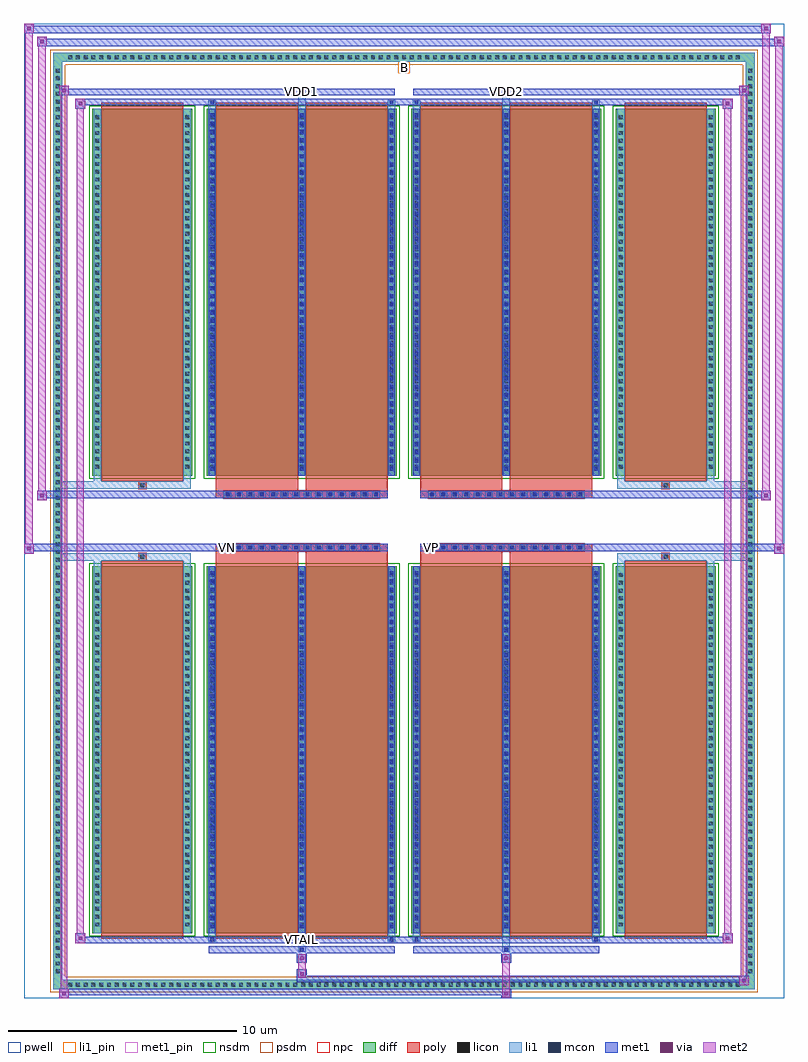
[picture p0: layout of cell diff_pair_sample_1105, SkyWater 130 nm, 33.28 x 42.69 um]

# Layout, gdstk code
import gdstk
lib = gdstk.Library(unit=1e-6, precision=5e-09)
def R(c, l, rs):  # rectangles x0, y0, x1, y1
    for r in rs: c.add(gdstk.rectangle(r[:2], r[2:], *l))
def A(c, l, x, y, w, h, nx, ny, dx, dy):  # array of equal rectangles
    R(c, l, [(x+i*dx, y+j*dy, x+i*dx+w, y+j*dy+h) for i in range(nx) for j in range(ny)])
def P(c, l, *ps):  # polygons
    for p in ps: c.add(gdstk.Polygon(p, *l))
pwell = (64, 44)
diff = (65, 20)
poly = (66, 20)
licon = (66, 44)
li1_pin = (67, 16)
li1 = (67, 20)
mcon = (67, 44)
met1_pin = (68, 16)
met1 = (68, 20)
via = (68, 44)
met2 = (69, 20)
nsdm = (93, 44)
psdm = (94, 20)
npc = (95, 20)

diff_pair_sample_1105 = lib.new_cell('diff_pair_sample_1105')
R(diff_pair_sample_1105, pwell, [(-16.64,-20.91,16.64,21.78), (-13.96,-19.1,-0.01,-0.8), (0.01,-19.1,13.96,-0.8), (-13.96,0.8,-0.01,19.1), (0.01,0.8,13.96,19.1)])
A(diff_pair_sample_1105, diff, -14.825, -20.51, 0.41, 0.41, 87, 2, 0.34, 40.61)
A(diff_pair_sample_1105, diff, -15.37, -19.925, 0.41, 0.41, 1, 117, 0, 0.34)
A(diff_pair_sample_1105, diff, 14.96, -19.925, 0.41, 0.41, 1, 117, 0, 0.34)
R(diff_pair_sample_1105, diff, [(-14.825,-20.51,14.825,-20.1), (-15.37,-19.925,-14.96,19.925), (14.96,-19.925,15.37,19.925), (-13.65,-18.055,-9.27,-1.985), (-8.63,-18.055,-0.32,-1.985), (0.32,-18.055,8.63,-1.985), (9.27,-18.055,13.65,-1.985), (-13.65,1.985,-9.27,18.055), (-8.63,1.985,-0.32,18.055), (0.32,1.985,8.63,18.055), (9.27,1.985,13.65,18.055), (-14.825,20.1,14.825,20.51)])
P(diff_pair_sample_1105, diff, [(15.37,20.51),(-15.37,20.51),(-15.37,-20.1),(-14.96,-20.1),(-14.96,20.1),(14.96,20.1),(14.96,-20.1),(-14.96,-20.1),(-15.37,-20.1),(-15.37,-20.51),(15.37,-20.51)])
A(diff_pair_sample_1105, poly, -7.89, -1.33, 0.33, 0.33, 14, 2, 0.5, 2.33)
A(diff_pair_sample_1105, poly, 1.06, -1.33, 0.33, 0.33, 14, 2, 0.5, 2.33)
R(diff_pair_sample_1105, poly, [(-13.26,-18.305,-9.66,-1.735), (-8.24,-18.305,-4.64,-1.735), (-4.31,-18.305,-0.71,-1.735), (0.71,-18.305,4.31,-1.735), (4.64,-18.305,8.24,-1.735), (9.66,-18.305,13.26,-1.735), (-11.625,-1.735,-11.295,-1.405), (-11.625,-1.735,-11.295,-1.405), (-8.24,-1.735,-4.64,-1.33), (-4.31,-1.735,-0.71,-1.33), (0.71,-1.735,4.31,-1.33), (4.64,-1.735,8.24,-1.33), (11.295,-1.735,11.625,-1.405), (11.295,-1.735,11.625,-1.405), (-8.24,-1.33,-0.71,-1), (0.71,-1.33,8.24,-1), (-8.24,1,-0.71,1.33), (0.71,1,8.24,1.33), (-8.24,1.33,-4.64,1.735), (-4.31,1.33,-0.71,1.735), (0.71,1.33,4.31,1.735), (4.64,1.33,8.24,1.735), (-11.625,1.405,-11.295,1.735), (-11.625,1.405,-11.295,1.735), (11.295,1.405,11.625,1.735), (11.295,1.405,11.625,1.735), (-13.26,1.735,-9.66,18.305), (-8.24,1.735,-4.64,18.305), (-4.31,1.735,-0.71,18.305), (0.71,1.735,4.31,18.305), (4.64,1.735,8.24,18.305), (9.66,1.735,13.26,18.305)])
A(diff_pair_sample_1105, licon, -14.705, -20.39, 0.17, 0.17, 87, 2, 0.34, 40.61)
A(diff_pair_sample_1105, licon, -15.25, -19.805, 0.17, 0.17, 1, 117, 0, 0.34)
A(diff_pair_sample_1105, licon, 15.08, -19.805, 0.17, 0.17, 1, 117, 0, 0.34)
A(diff_pair_sample_1105, licon, -13.51, -17.755, 0.17, 0.17, 1, 46, 0, 0.34)
A(diff_pair_sample_1105, licon, -9.58, -17.755, 0.17, 0.17, 1, 46, 0, 0.34)
A(diff_pair_sample_1105, licon, -8.49, -17.755, 0.17, 0.17, 3, 46, 3.93, 0.34)
A(diff_pair_sample_1105, licon, 0.46, -17.755, 0.17, 0.17, 3, 46, 3.93, 0.34)
A(diff_pair_sample_1105, licon, 9.41, -17.755, 0.17, 0.17, 1, 46, 0, 0.34)
A(diff_pair_sample_1105, licon, 13.34, -17.755, 0.17, 0.17, 1, 46, 0, 0.34)
A(diff_pair_sample_1105, licon, -7.81, -1.25, 0.17, 0.17, 14, 2, 0.5, 2.33)
A(diff_pair_sample_1105, licon, 1.14, -1.25, 0.17, 0.17, 14, 2, 0.5, 2.33)
A(diff_pair_sample_1105, licon, -13.51, 2.285, 0.17, 0.17, 1, 46, 0, 0.34)
A(diff_pair_sample_1105, licon, -9.58, 2.285, 0.17, 0.17, 1, 46, 0, 0.34)
A(diff_pair_sample_1105, licon, -8.49, 2.285, 0.17, 0.17, 3, 46, 3.93, 0.34)
A(diff_pair_sample_1105, licon, 0.46, 2.285, 0.17, 0.17, 3, 46, 3.93, 0.34)
A(diff_pair_sample_1105, licon, 9.41, 2.285, 0.17, 0.17, 1, 46, 0, 0.34)
A(diff_pair_sample_1105, licon, 13.34, 2.285, 0.17, 0.17, 1, 46, 0, 0.34)
R(diff_pair_sample_1105, licon, [(-11.545,-1.655,-11.375,-1.485), (11.375,-1.655,11.545,-1.485), (-11.545,1.485,-11.375,1.655), (11.375,1.485,11.545,1.655)])
R(diff_pair_sample_1105, li1_pin, [(-0.25,19.6,0.25,20.1)])
A(diff_pair_sample_1105, li1, -14.785, -20.47, 0.33, 0.33, 87, 2, 0.34, 40.61)
A(diff_pair_sample_1105, li1, -15.33, -19.885, 0.33, 0.33, 1, 117, 0, 0.34)
A(diff_pair_sample_1105, li1, 15, -19.885, 0.33, 0.33, 1, 117, 0, 0.34)
A(diff_pair_sample_1105, li1, -8.57, -18.055, 0.33, 16.07, 3, 2, 3.93, 20.04)
A(diff_pair_sample_1105, li1, 0.38, -18.055, 0.33, 16.07, 3, 2, 3.93, 20.04)
A(diff_pair_sample_1105, li1, -8.49, -17.845, 0.17, 0.17, 3, 44, 3.93, 0.36)
A(diff_pair_sample_1105, li1, -8.49, -17.845, 0.17, 15.65, 3, 2, 3.93, 20.04)
A(diff_pair_sample_1105, li1, 0.46, -17.845, 0.17, 0.17, 3, 44, 3.93, 0.36)
A(diff_pair_sample_1105, li1, 0.46, -17.845, 0.17, 15.65, 3, 2, 3.93, 20.04)
A(diff_pair_sample_1105, li1, -13.59, -17.835, 0.33, 0.33, 1, 46, 0, 0.34)
A(diff_pair_sample_1105, li1, -9.66, -17.835, 0.33, 0.33, 1, 46, 0, 0.34)
A(diff_pair_sample_1105, li1, -8.57, -17.835, 0.33, 0.33, 3, 46, 3.93, 0.34)
A(diff_pair_sample_1105, li1, 0.38, -17.835, 0.33, 0.33, 3, 46, 3.93, 0.34)
A(diff_pair_sample_1105, li1, 9.33, -17.835, 0.33, 0.33, 1, 46, 0, 0.34)
A(diff_pair_sample_1105, li1, 13.26, -17.835, 0.33, 0.33, 1, 46, 0, 0.34)
A(diff_pair_sample_1105, li1, -7.89, -1.33, 0.33, 0.33, 14, 2, 0.5, 2.33)
A(diff_pair_sample_1105, li1, 1.06, -1.33, 0.33, 0.33, 14, 2, 0.5, 2.33)
A(diff_pair_sample_1105, li1, -8.49, 2.195, 0.17, 0.17, 3, 44, 3.93, 0.36)
A(diff_pair_sample_1105, li1, 0.46, 2.195, 0.17, 0.17, 3, 44, 3.93, 0.36)
A(diff_pair_sample_1105, li1, -13.59, 2.205, 0.33, 0.33, 1, 46, 0, 0.34)
A(diff_pair_sample_1105, li1, -9.66, 2.205, 0.33, 0.33, 1, 46, 0, 0.34)
A(diff_pair_sample_1105, li1, -8.57, 2.205, 0.33, 0.33, 3, 46, 3.93, 0.34)
A(diff_pair_sample_1105, li1, 0.38, 2.205, 0.33, 0.33, 3, 46, 3.93, 0.34)
A(diff_pair_sample_1105, li1, 9.33, 2.205, 0.33, 0.33, 1, 46, 0, 0.34)
A(diff_pair_sample_1105, li1, 13.26, 2.205, 0.33, 0.33, 1, 46, 0, 0.34)
R(diff_pair_sample_1105, li1, [(-15.37,-20.51,-14.96,-20.1), (-15.37,-20.51,-14.96,-20.1), (-14.96,-20.51,14.96,-20.1), (14.96,-20.51,15.37,-20.1), (14.96,-20.51,15.37,-20.1), (-15.37,-20.1,-14.96,20.1), (14.96,-20.1,15.37,20.1), (-4.64,-18.86,-4.31,-18.055), (-4.56,-18.86,-4.39,-18.69), (4.31,-18.86,4.64,-18.055), (4.39,-18.86,4.56,-18.69), (-8.57,-18.43,-8.24,-18.055), (-8.49,-18.43,-8.32,-18.26), (-0.71,-18.43,-0.38,-18.055), (-0.63,-18.43,-0.46,-18.26), (0.38,-18.43,0.71,-18.055), (0.46,-18.43,0.63,-18.26), (8.24,-18.43,8.57,-18.055), (8.32,-18.43,8.49,-18.26), (-13.59,-18.055,-13.26,-1.985), (-9.66,-18.055,-9.33,-1.985), (9.33,-18.055,9.66,-1.985), (13.26,-18.055,13.59,-1.985), (-13.59,-1.985,-13.26,-1.405), (-9.66,-1.985,-9.33,-1.405), (9.33,-1.985,9.66,-1.405), (13.26,-1.985,13.59,-1.405), (-15.37,-1.735,-11.625,-1.405), (-13.59,-1.735,-11.625,-1.405), (-11.625,-1.735,-11.295,-1.405), (-11.295,-1.735,-9.33,-1.405), (9.33,-1.735,11.295,-1.405), (11.295,-1.735,11.625,-1.405), (11.295,-1.735,15.37,-1.405), (11.625,-1.735,13.59,-1.405), (-15.37,1.405,-11.625,1.735), (-13.59,1.405,-11.625,1.735), (-13.59,1.405,-13.26,1.985), (-11.625,1.405,-11.295,1.735), (-11.295,1.405,-9.33,1.735), (-9.66,1.405,-9.33,1.985), (9.33,1.405,11.295,1.735), (9.33,1.405,9.66,1.985), (11.295,1.405,11.625,1.735), (11.295,1.405,15.37,1.735), (11.625,1.405,13.59,1.735), (13.26,1.405,13.59,1.985), (-13.59,1.985,-13.26,18.055), (-9.66,1.985,-9.33,18.055), (9.33,1.985,9.66,18.055), (13.26,1.985,13.59,18.055), (-8.57,18.055,-8.24,18.43), (-4.64,18.055,-4.31,18.86), (-0.71,18.055,-0.38,18.43), (0.38,18.055,0.71,18.43), (4.31,18.055,4.64,18.86), (8.24,18.055,8.57,18.43), (-8.49,18.26,-8.32,18.43), (-0.63,18.26,-0.46,18.43), (0.46,18.26,0.63,18.43), (8.32,18.26,8.49,18.43), (-4.56,18.69,-4.39,18.86), (4.39,18.69,4.56,18.86), (-15.37,20.1,-14.96,20.51), (-15.37,20.1,-14.96,20.51), (-14.96,20.1,14.96,20.51), (14.96,20.1,15.37,20.51), (14.96,20.1,15.37,20.51)])
A(diff_pair_sample_1105, mcon, -8.49, -17.845, 0.17, 0.17, 3, 44, 3.93, 0.36)
A(diff_pair_sample_1105, mcon, 0.46, -17.845, 0.17, 0.17, 3, 44, 3.93, 0.36)
A(diff_pair_sample_1105, mcon, -7.81, -1.25, 0.17, 0.17, 14, 2, 0.5, 2.33)
A(diff_pair_sample_1105, mcon, 1.14, -1.25, 0.17, 0.17, 14, 2, 0.5, 2.33)
A(diff_pair_sample_1105, mcon, -8.49, 2.195, 0.17, 0.17, 3, 44, 3.93, 0.36)
A(diff_pair_sample_1105, mcon, 0.46, 2.195, 0.17, 0.17, 3, 44, 3.93, 0.36)
R(diff_pair_sample_1105, mcon, [(-4.56,-18.86,-4.39,-18.69), (4.39,-18.86,4.56,-18.69), (-8.49,-18.43,-8.32,-18.26), (-0.63,-18.43,-0.46,-18.26), (0.46,-18.43,0.63,-18.26), (8.32,-18.43,8.49,-18.26), (-8.49,18.26,-8.32,18.43), (-0.63,18.26,-0.46,18.43), (0.46,18.26,0.63,18.43), (8.32,18.26,8.49,18.43), (-4.56,18.69,-4.39,18.86), (4.39,18.69,4.56,18.86)])
R(diff_pair_sample_1105, met1_pin, [(-4.61,-18.47,-4.34,-18.2), (-7.86,-1.29,-7.59,-1.02), (1.09,-1.29,1.36,-1.02), (-4.61,18.65,-4.34,18.92), (4.34,18.65,4.61,18.92)])
A(diff_pair_sample_1105, met1, -8.55, -18.055, 0.29, 16.07, 3, 2, 3.93, 20.04)
A(diff_pair_sample_1105, met1, 0.4, -18.055, 0.29, 16.07, 3, 2, 3.93, 20.04)
A(diff_pair_sample_1105, met1, -8.55, -17.905, 0.29, 0.29, 3, 44, 3.93, 0.36)
A(diff_pair_sample_1105, met1, 0.4, -17.905, 0.29, 0.29, 3, 44, 3.93, 0.36)
A(diff_pair_sample_1105, met1, -7.87, -1.31, 0.29, 0.29, 14, 2, 0.5, 2.33)
A(diff_pair_sample_1105, met1, 1.08, -1.31, 0.29, 0.29, 14, 2, 0.5, 2.33)
A(diff_pair_sample_1105, met1, -8.55, 2.135, 0.29, 0.29, 3, 44, 3.93, 0.36)
A(diff_pair_sample_1105, met1, 0.4, 2.135, 0.29, 0.29, 3, 44, 3.93, 0.36)
R(diff_pair_sample_1105, met1, [(-15.1,-20.91,-14.67,-20.48), (4.26,-20.91,4.69,-20.48), (-15.1,-20.77,4.69,-20.48), (14.67,-20.34,15.1,-19.91), (-4.69,-20.2,15.1,-19.91), (-4.69,-20.06,-4.26,-19.63), (-4.69,-19.35,-4.26,-18.92), (4.26,-19.35,4.69,-18.92), (-8.55,-18.92,-0.4,-18.63), (-4.62,-18.92,-4.33,-18.63), (0.4,-18.92,8.55,-18.63), (4.33,-18.92,4.62,-18.63), (-14.39,-18.49,-13.96,-18.06), (-14.39,-18.49,-8.55,-18.2), (-8.55,-18.49,-8.26,-18.2), (-8.55,-18.49,-0.4,-18.2), (-0.69,-18.49,-0.4,-18.2), (-0.4,-18.49,0.4,-18.2), (0.4,-18.49,0.69,-18.2), (0.4,-18.49,8.55,-18.2), (8.26,-18.49,8.55,-18.2), (8.55,-18.49,14.39,-18.2), (13.96,-18.49,14.39,-18.06), (-16.64,-1.43,-16.21,-1), (16.21,-1.43,16.64,-1), (-16.64,-1.33,-0.71,-1), (-8.24,-1.33,-0.71,-1), (0.71,-1.33,8.24,-1), (0.71,-1.33,16.64,-1), (-16.07,0.9,-15.64,1.33), (15.64,0.9,16.07,1.33), (-16.07,1,-8.24,1.33), (-8.24,1,-0.71,1.33), (0.71,1,8.24,1.33), (8.24,1,16.07,1.33), (-14.39,18.06,-13.96,18.49), (13.96,18.06,14.39,18.49), (-14.39,18.2,-8.55,18.49), (-8.55,18.2,-8.26,18.49), (-8.55,18.2,-0.4,18.49), (-0.69,18.2,-0.4,18.49), (-0.4,18.2,0.4,18.49), (0.4,18.2,0.69,18.49), (0.4,18.2,8.55,18.49), (8.26,18.2,8.55,18.49), (8.55,18.2,14.39,18.49), (-15.1,18.63,-14.67,19.06), (-15.1,18.63,-8.55,18.92), (-8.55,18.63,-0.4,18.92), (-4.62,18.63,-4.33,18.92), (0.4,18.63,8.55,18.92), (4.33,18.63,4.62,18.92), (8.55,18.63,15.1,18.92), (14.67,18.63,15.1,19.06), (-16.07,20.78,-15.64,21.21), (-16.07,20.78,-13.96,21.11), (-13.96,20.78,13.96,21.11), (13.96,20.78,16.64,21.11), (16.21,20.78,16.64,21.21), (-16.64,21.35,-16.21,21.78), (-16.64,21.35,-13.96,21.68), (-13.96,21.35,13.96,21.68), (13.96,21.35,16.07,21.68), (15.64,21.35,16.07,21.78)])
R(diff_pair_sample_1105, via, [(-14.96,-20.77,-14.81,-20.62), (4.4,-20.77,4.55,-20.62), (14.81,-20.2,14.96,-20.05), (-4.55,-19.92,-4.4,-19.77), (-4.55,-19.21,-4.4,-19.06), (4.4,-19.21,4.55,-19.06), (-14.25,-18.35,-14.1,-18.2), (14.1,-18.35,14.25,-18.2), (-16.5,-1.29,-16.35,-1.14), (16.35,-1.29,16.5,-1.14), (-15.93,1.04,-15.78,1.19), (15.78,1.04,15.93,1.19), (-14.25,18.2,-14.1,18.35), (14.1,18.2,14.25,18.35), (-14.96,18.77,-14.81,18.92), (14.81,18.77,14.96,18.92), (-15.93,20.92,-15.78,21.07), (16.35,20.92,16.5,21.07), (-16.5,21.49,-16.35,21.64), (15.78,21.49,15.93,21.64)])
R(diff_pair_sample_1105, met2, [(-15.1,-20.91,-14.67,-20.48), (-15.03,-20.91,-14.74,19.06), (-14.74,-20.91,-14.67,-20.48), (-15.05,-20.86,-14.72,-20.53), (4.31,-20.86,4.64,-20.53), (4.31,-20.53,4.64,-19.3), (14.67,-20.34,15.1,-19.91), (14.74,-20.34,15.03,19.06), (15.03,-20.34,15.1,-19.91), (14.72,-20.29,15.05,-19.96), (-4.64,-20.01,-4.31,-19.68), (-4.64,-19.68,-4.31,-19.3), (-4.64,-19.3,-4.31,-18.97), (4.31,-19.3,4.64,-18.97), (-14.39,-18.49,-13.96,-18.06), (-14.32,-18.49,-14.03,18.49), (-14.03,-18.49,-13.96,-18.06), (13.96,-18.49,14.39,-18.06), (14.03,-18.49,14.32,18.49), (14.32,-18.49,14.39,-18.06), (-14.34,-18.44,-14.01,-18.11), (14.01,-18.44,14.34,-18.11), (-16.64,-1.43,-16.21,-1), (-16.59,-1.43,-16.26,21.78), (-16.26,-1.43,-16.21,-1), (16.21,-1.43,16.64,-1), (16.26,-1.43,16.59,21.21), (16.59,-1.43,16.64,-1), (-16.59,-1.38,-16.26,-1.05), (16.26,-1.38,16.59,-1.05), (-16.07,0.9,-15.64,1.33), (-16.02,0.9,-15.69,21.21), (-15.69,0.9,-15.64,1.33), (15.64,0.9,16.07,1.33), (15.69,0.9,16.02,21.78), (16.02,0.9,16.07,1.33), (-16.02,0.95,-15.69,1.28), (15.69,0.95,16.02,1.28), (-14.39,18.06,-13.96,18.49), (-14.03,18.06,-13.96,18.49), (13.96,18.06,14.39,18.49), (14.32,18.06,14.39,18.49), (-14.34,18.11,-14.01,18.44), (14.01,18.11,14.34,18.44), (-15.1,18.63,-14.67,19.06), (-14.74,18.63,-14.67,19.06), (14.67,18.63,15.1,19.06), (15.03,18.63,15.1,19.06), (-15.05,18.68,-14.72,19.01), (14.72,18.68,15.05,19.01), (-16.07,20.78,-15.64,21.21), (-15.69,20.78,-15.64,21.21), (16.21,20.78,16.64,21.21), (16.59,20.78,16.64,21.21), (-16.02,20.83,-15.69,21.16), (16.26,20.83,16.59,21.16), (-16.64,21.35,-16.21,21.78), (-16.26,21.35,-16.21,21.78), (15.64,21.35,16.07,21.78), (16.02,21.35,16.07,21.78), (-16.59,21.4,-16.26,21.73), (15.69,21.4,16.02,21.73)])
R(diff_pair_sample_1105, nsdm, [(-13.78,-18.185,-9.14,-1.855), (-8.76,-18.185,-0.19,-1.855), (0.19,-18.185,8.76,-1.855), (9.14,-18.185,13.78,-1.855), (-13.78,1.855,-9.14,18.185), (-8.76,1.855,-0.19,18.185), (0.19,1.855,8.76,18.185), (9.14,1.855,13.78,18.185)])
P(diff_pair_sample_1105, psdm, [(15.5,20.64),(-15.5,20.64),(-15.5,-19.97),(-14.83,-19.97),(-14.83,19.97),(14.83,19.97),(14.83,-19.97),(-14.83,-19.97),(-15.5,-19.97),(-15.5,-20.64),(15.5,-20.64)])
A(diff_pair_sample_1105, npc, -7.91, -1.35, 0.37, 0.37, 14, 2, 0.5, 2.33)
A(diff_pair_sample_1105, npc, 1.04, -1.35, 0.37, 0.37, 14, 2, 0.5, 2.33)
R(diff_pair_sample_1105, npc, [(-11.645,-1.755,-11.275,-1.385), (11.275,-1.755,11.645,-1.385), (-7.91,-1.35,-7.04,-0.98), (-7.91,-1.35,-7.04,-0.98), (-7.41,-1.35,-6.54,-0.98), (-7.41,-1.35,-6.54,-0.98), (-6.91,-1.35,-6.04,-0.98), (-6.91,-1.35,-6.04,-0.98), (-6.41,-1.35,-5.54,-0.98), (-6.41,-1.35,-5.54,-0.98), (-5.91,-1.35,-5.04,-0.98), (-5.91,-1.35,-5.04,-0.98), (-5.41,-1.35,-4.54,-0.98), (-5.41,-1.35,-4.54,-0.98), (-4.91,-1.35,-4.04,-0.98), (-4.91,-1.35,-4.04,-0.98), (-4.41,-1.35,-3.54,-0.98), (-4.41,-1.35,-3.54,-0.98), (-3.91,-1.35,-3.04,-0.98), (-3.91,-1.35,-3.04,-0.98), (-3.41,-1.35,-2.54,-0.98), (-3.41,-1.35,-2.54,-0.98), (-2.91,-1.35,-2.04,-0.98), (-2.91,-1.35,-2.04,-0.98), (-2.41,-1.35,-1.54,-0.98), (-2.41,-1.35,-1.54,-0.98), (-1.91,-1.35,-1.04,-0.98), (-1.91,-1.35,-1.04,-0.98), (1.04,-1.35,1.91,-0.98), (1.04,-1.35,1.91,-0.98), (1.54,-1.35,2.41,-0.98), (1.54,-1.35,2.41,-0.98), (2.04,-1.35,2.91,-0.98), (2.04,-1.35,2.91,-0.98), (2.54,-1.35,3.41,-0.98), (2.54,-1.35,3.41,-0.98), (3.04,-1.35,3.91,-0.98), (3.04,-1.35,3.91,-0.98), (3.54,-1.35,4.41,-0.98), (3.54,-1.35,4.41,-0.98), (4.04,-1.35,4.91,-0.98), (4.04,-1.35,4.91,-0.98), (4.54,-1.35,5.41,-0.98), (4.54,-1.35,5.41,-0.98), (5.04,-1.35,5.91,-0.98), (5.04,-1.35,5.91,-0.98), (5.54,-1.35,6.41,-0.98), (5.54,-1.35,6.41,-0.98), (6.04,-1.35,6.91,-0.98), (6.04,-1.35,6.91,-0.98), (6.54,-1.35,7.41,-0.98), (6.54,-1.35,7.41,-0.98), (7.04,-1.35,7.91,-0.98), (7.04,-1.35,7.91,-0.98), (-7.91,0.98,-7.04,1.35), (-7.91,0.98,-7.04,1.35), (-7.41,0.98,-6.54,1.35), (-7.41,0.98,-6.54,1.35), (-6.91,0.98,-6.04,1.35), (-6.91,0.98,-6.04,1.35), (-6.41,0.98,-5.54,1.35), (-6.41,0.98,-5.54,1.35), (-5.91,0.98,-5.04,1.35), (-5.91,0.98,-5.04,1.35), (-5.41,0.98,-4.54,1.35), (-5.41,0.98,-4.54,1.35), (-4.91,0.98,-4.04,1.35), (-4.91,0.98,-4.04,1.35), (-4.41,0.98,-3.54,1.35), (-4.41,0.98,-3.54,1.35), (-3.91,0.98,-3.04,1.35), (-3.91,0.98,-3.04,1.35), (-3.41,0.98,-2.54,1.35), (-3.41,0.98,-2.54,1.35), (-2.91,0.98,-2.04,1.35), (-2.91,0.98,-2.04,1.35), (-2.41,0.98,-1.54,1.35), (-2.41,0.98,-1.54,1.35), (-1.91,0.98,-1.04,1.35), (-1.91,0.98,-1.04,1.35), (1.04,0.98,1.91,1.35), (1.04,0.98,1.91,1.35), (1.54,0.98,2.41,1.35), (1.54,0.98,2.41,1.35), (2.04,0.98,2.91,1.35), (2.04,0.98,2.91,1.35), (2.54,0.98,3.41,1.35), (2.54,0.98,3.41,1.35), (3.04,0.98,3.91,1.35), (3.04,0.98,3.91,1.35), (3.54,0.98,4.41,1.35), (3.54,0.98,4.41,1.35), (4.04,0.98,4.91,1.35), (4.04,0.98,4.91,1.35), (4.54,0.98,5.41,1.35), (4.54,0.98,5.41,1.35), (5.04,0.98,5.91,1.35), (5.04,0.98,5.91,1.35), (5.54,0.98,6.41,1.35), (5.54,0.98,6.41,1.35), (6.04,0.98,6.91,1.35), (6.04,0.98,6.91,1.35), (6.54,0.98,7.41,1.35), (6.54,0.98,7.41,1.35), (7.04,0.98,7.91,1.35), (7.04,0.98,7.91,1.35), (-11.645,1.385,-11.275,1.755), (11.275,1.385,11.645,1.755)])
diff_pair_sample_1105.add(gdstk.Label('VTAIL', (-4.475,-18.335), layer=68, texttype=5))
diff_pair_sample_1105.add(gdstk.Label('VN', (-7.725,-1.155), layer=68, texttype=5))
diff_pair_sample_1105.add(gdstk.Label('VP', (1.225,-1.155), layer=68, texttype=5))
diff_pair_sample_1105.add(gdstk.Label('B', (0,19.85), layer=67, texttype=5))
diff_pair_sample_1105.add(gdstk.Label('VDD2', (4.475,18.785), layer=68, texttype=5))
diff_pair_sample_1105.add(gdstk.Label('VDD1', (-4.475,18.785), layer=68, texttype=5))

lib.write_gds('diff_pair_sample_1105.gds')
